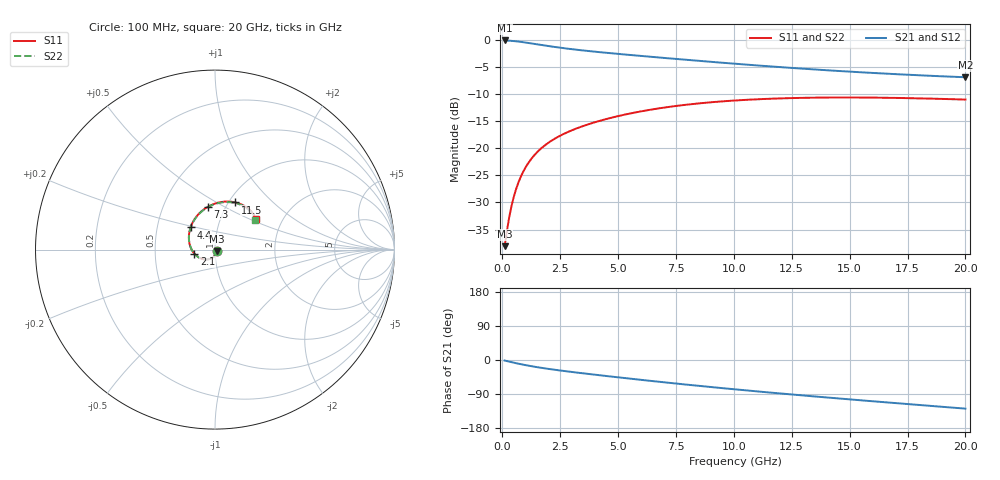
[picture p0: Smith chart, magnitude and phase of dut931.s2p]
! Touchstone file exported from HFSS 2024.1.0
!  File:  C:/UserFiles/LocalFiles/RDL_TSV_Batchsim/temp_RDL_TSV_931_1779960805.aedt
!  Generated:  05:47:20 PM May 28, 2026
!  Design:  RDL_TSV
!  Project:  temp_RDL_TSV_931_1779960805
!  Setup:  Setup1
!  Solution:  Sweep
! Variables:
!  dtsv = 14.82um
!  hbump = 3um
!  htsv = 82.06um
!  ldown = 204.04um
!  lrdl = 186.45um
!  p = 40
!  p1 = 53.6um
!  rhole = 10um
!  subl = 1357.92um
!  t = 450um
!  tdown = 3.47um
!  trdl = 2.22um
!  viad = 10um
!  wdown = 11.07um
!  wrdl = 29.34um
!  xbump = 18um
# GHz S MA R 50.000000
! Terminal data exported
! Port[1] = TM1_1_T1
! Port[2] = TM1_4_T1
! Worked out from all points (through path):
!   200 points, 100 MHz to 20 GHz, reference 50 ohm
!   highest |S21| = -0.10 dB at 100 MHz (marker M1); lowest = -6.9 dB at 20 GHz (marker M2)
!   group delay of S21, straight-line fit = 16.6 ps
!   lowest |S11| = -38.1 dB at 100 MHz (marker M3), VSWR 1.03, Z = 51 - j0.773 ohm
!   |S11| at or under -10 dB: start of sweep to end of sweep
!   |S22| runs from -38.1 to -10.7 dB; largest |S21 - S12| = 5.1e-14
!   S11 on the Smith chart (normalised r, x): 100 MHz: 1.02, -0.02; 2.1 GHz: 0.79, -0.04; 4.4 GHz: 0.74, +0.19; 7.3 GHz: 0.83, +0.42; 11.5 GHz: 1.07, +0.61; 20 GHz: 1.47, +0.54
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0.1  0.01248 -37.4  0.9889 -1.5  0.9889 -1.5  0.01249 -37.4
! Gamma 0 0 0 0
! Port Impedance 50 0 50 0
0.3  0.02317 -75.8  0.9845 -4.4  0.9845 -4.4  0.02318 -75.8
0.4  0.02946 -86.4  0.9808 -5.8  0.9808 -5.8  0.02948 -86.4
0.5  0.03587 -94.8  0.9764 -7.1  0.9764 -7.1  0.03589 -94.8
0.6  0.04224 -102.0  0.9713 -8.5  0.9713 -8.5  0.04226 -102.0
0.8  0.05462 -114.3  0.9597 -11.1  0.9597 -11.1  0.05463 -114.2
1  0.06626 -124.8  0.9466 -13.5  0.9466 -13.5  0.06626 -124.7
1.3  0.08219 -138.7  0.9255 -16.8  0.9255 -16.8  0.08215 -138.5
1.7  0.1007 -154.6  0.8974 -20.8  0.8974 -20.8  0.1006 -154.4
2.1  0.1166 -168.3  0.8712 -24.4  0.8712 -24.4  0.1164 -168.1
2.7  0.1372 174.2  0.8368 -29.3  0.8368 -29.3  0.1367 174.4
3.5  0.1607 155.1  0.7991 -35.2  0.7991 -35.2  0.1599 155.3
4.4  0.184 137.7  0.764 -41.6  0.764 -41.6  0.1828 138.0
5.6  0.2112 119.3  0.7238 -49.8  0.7238 -49.8  0.2095 119.5
6.8  0.2342 104.5  0.6876 -57.7  0.6876 -57.7  0.232 104.6
7.3  0.2426 99.1  0.6733 -60.9  0.6733 -60.9  0.2402 99.3
8.6  0.261 87.0  0.6384 -68.9  0.6384 -68.9  0.2582 87.1
10.1  0.2765 75.5  0.6018 -77.7  0.6018 -77.7  0.2734 75.5
11.5  0.2862 66.6  0.5712 -85.6  0.5712 -85.6  0.2828 66.6
13.4  0.2931 56.8  0.5353 -95.7  0.5353 -95.7  0.2894 56.7
16.7  0.2923 44.4  0.4868 -112.4  0.4868 -112.4  0.2884 44.3
20  0.2816 36.6  0.4524 -128.3  0.4524 -128.3  0.2776 36.4
